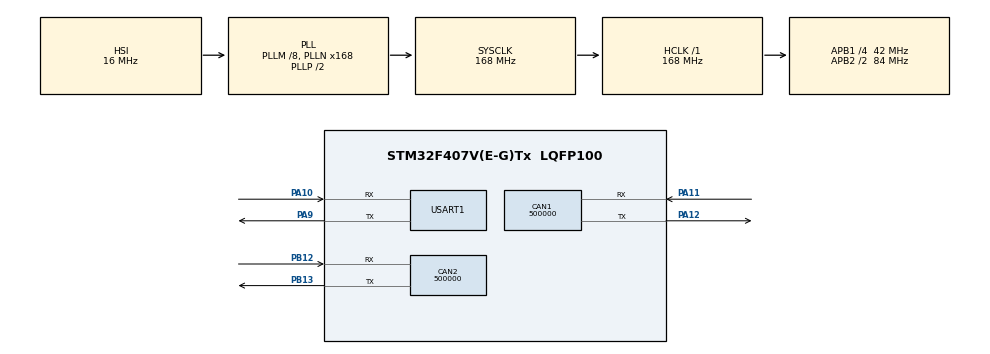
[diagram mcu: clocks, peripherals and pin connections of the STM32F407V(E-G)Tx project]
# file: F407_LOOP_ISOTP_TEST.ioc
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CAN1.CalculateBaudRate=500000
CAN1.CalculateTimeBit=2000
CAN1.CalculateTimeQuantum=333.3333333333333
CAN2.CalculateBaudRate=500000
CAN2.CalculateTimeBit=2000
CAN2.CalculateTimeQuantum=333.3333333333333
Mcu.Family=STM32F4
Mcu.Name=STM32F407V(E-G)Tx
Mcu.Package=LQFP100
NVIC.PriorityGroup=NVIC_PRIORITYGROUP_4
PA10.Mode=Asynchronous
PA10.Signal=USART1_RX
PA11.Mode=CAN_Activate
PA11.Signal=CAN1_RX
PA12.Mode=CAN_Activate
PA12.Signal=CAN1_TX
PA13.Mode=Serial_Wire
PA13.Signal=SYS_JTMS-SWDIO
PA14.Mode=Serial_Wire
PA14.Signal=SYS_JTCK-SWCLK
PA9.Mode=Asynchronous
PA9.Signal=USART1_TX
PB12.Mode=CAN_Activate
PB12.Signal=CAN2_RX
PB13.Mode=CAN_Activate
PB13.Signal=CAN2_TX
PC14-OSC32_IN.Mode=LSE-External-Oscillator
PC14-OSC32_IN.Signal=RCC_OSC32_IN
PC15-OSC32_OUT.Mode=LSE-External-Oscillator
PC15-OSC32_OUT.Signal=RCC_OSC32_OUT
PH0-OSC_IN.Mode=HSE-External-Oscillator
PH0-OSC_IN.Signal=RCC_OSC_IN
PH1-OSC_OUT.Mode=HSE-External-Oscillator
PH1-OSC_OUT.Signal=RCC_OSC_OUT
ProjectManager.HeapSize=0x200
ProjectManager.StackSize=0x400
ProjectManager.TargetToolchain=CMake
RCC.48MHZClocksFreq_Value=84000000
RCC.AHBFreq_Value=168000000
RCC.APB1CLKDivider=RCC_HCLK_DIV4
RCC.APB1Freq_Value=42000000
RCC.APB1TimFreq_Value=84000000
RCC.APB2CLKDivider=RCC_HCLK_DIV2
RCC.APB2Freq_Value=84000000
RCC.APB2TimFreq_Value=168000000
RCC.CortexFreq_Value=168000000
RCC.HCLKFreq_Value=168000000
RCC.HSE_VALUE=25000000
RCC.HSI_VALUE=16000000
RCC.PLLM=8
RCC.PLLN=168
RCC.SYSCLKFreq_VALUE=168000000
RCC.SYSCLKSource=RCC_SYSCLKSOURCE_PLLCLK
RCC.VCOOutputFreq_Value=336000000
USART1.VirtualMode=VM_ASYNC
board=custom

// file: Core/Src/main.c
/* USER CODE BEGIN Header */
/**
  ******************************************************************************
  * @file           : main.c
  * @brief          : Main program body
  ******************************************************************************
  * @attention
  *
  * Copyright (c) 2026 STMicroelectronics.
  * All rights reserved.
  *
  * This software is licensed under terms that can be found in the LICENSE file
  * in the root directory of this software component.
  * If no LICENSE file comes with this software, it is provided AS-IS.
  *
  ******************************************************************************
  */
/* USER CODE END Header */
#include "main.h"
#include "can.h"
#include "usart.h"
#include "gpio.h"

/* USER CODE BEGIN Includes */
#include <stdio.h>
#include <string.h>

#include "app_can.h"
#include "app_log.h"
#include "protocol/app_ack.h"
#include "protocol/app_frame.h"
#include "protocol/tlv.h"
#include "service/dispatcher.h"
#include "service/retry_ack_scheduler.h"
#include "transport/isotp.h"

/* USER CODE END Includes */

/* USER CODE BEGIN PD */
#define APP_CAN1_TX_ID              0x501U
#define APP_CAN1_RX_ID              0x502U
#define APP_CAN2_TX_ID              0x502U
#define APP_CAN2_RX_ID              0x501U
#define APP_DEVICE_ID_CORE          0x01U
#define APP_DEVICE_ID_LAUNCHER      0x21U
#define APP_MODULE_UID              0x1234U
#define APP_CAN1_PERIOD_MS          1000U
#define APP_CAN2_PERIOD_MS          200U
#define APP_ISOTP_STMIN_MS          10U
#define APP_ISOTP_TIMEOUT_MS        100U
#define APP_RETRY_TIMEOUT_MS        100U
#define APP_RETRY_COUNT             2U
#define APP_LAUNCHER_PAYLOAD_LEN    100U
#define APP_ENABLE_FRAME_LOG        0U

/* USER CODE END PD */

/* USER CODE BEGIN PV */
static TransportIsotpContext g_can1_isotp;
static TransportIsotpContext g_can2_isotp;
static ServiceDispatcher g_dispatcher;
static ServiceRetryAckScheduler g_can1_scheduler;
static ServiceRetryAckScheduler g_can2_scheduler;

/* USER CODE END PV */

void SystemClock_Config(void);
/* USER CODE BEGIN PFP */
static void App_Init(void);
static void App_Run(void);
static void App_OnCanRx(AppCanPort port, const AppCanFrame *frame);
static void App_OnIsotpMessage(void *user_arg, const uint8_t *payload, uint16_t length);
static void App_OnIsotpFrame(void *user_arg, AppCanPort port, const char *direction, const AppCanFrame *frame);
static void App_OnCan1TxComplete(void *user_arg, TransportIsotpStatus status);
static void App_OnCan2TxComplete(void *user_arg, TransportIsotpStatus status);
static void App_LogPayload(const char *prefix, const uint8_t *data, uint16_t length);
static void App_PrintCanHealth(void);
static bool App_DispatchDefault(void *user_arg, AppCanPort port, const ProtocolAppFrame *frame);
static bool App_DispatchAck(void *user_arg, AppCanPort port, const ProtocolAppFrame *frame);
static bool App_DispatchLauncherCmd(void *user_arg, AppCanPort port, const ProtocolAppFrame *frame);
static void App_OnSchedulerEvent(ServiceRetryAckScheduler *scheduler,
                                 ServiceRetryAckEvent event,
                                 ServiceRetryAckSlotId slot_id,
                                 const ProtocolAppFrame *frame,
                                 const ServiceRetryAckInfo *ack_info,
                                 void *user_arg);
static bool App_SendViaCan1(void *user_arg, const uint8_t *payload, uint16_t length);
static bool App_SendViaCan2(void *user_arg, const uint8_t *payload, uint16_t length);
static bool App_IsCan1Idle(void *user_arg);
static bool App_IsCan2Idle(void *user_arg);
static bool App_SendAppFrame(AppCanPort port, const ProtocolAppFrame *frame);
static bool App_SendAckFrame(AppCanPort port, const ProtocolAppFrame *request, uint8_t result_code, uint8_t reason_code, bool has_reason);
static void App_EnqueueLauncherMaxFrame(void);
static void App_EnqueueShortFrame(void);
static bool App_BuildLauncherCtrlMaxFrame(ProtocolAppFrame *frame);
static bool App_BuildShortStatusFrame(ProtocolAppFrame *frame);

/* USER CODE END PFP */

/* USER CODE BEGIN 0 */
static void App_LogPayload(const char *prefix, const uint8_t *data, uint16_t length)
{
  char line[192];
  int offset = snprintf(line, sizeof(line), "%s len=%u data=", prefix, (unsigned int)length);

  for (uint16_t i = 0; (i < length) && (offset > 0) && (offset < (int)(sizeof(line) - 4)); ++i)
  {
    offset += snprintf(&line[offset], sizeof(line) - (size_t)offset, "%02X ", data[i]);
  }

  if (offset < 0)
  {
    return;
  }

  if (offset > (int)(sizeof(line) - 3))
  {
    offset = (int)(sizeof(line) - 3);
  }

  line[offset++] = '\r';
  line[offset++] = '\n';
  line[offset] = '\0';
  App_Log_Printf("%s", line);
}

static void App_OnIsotpFrame(void *user_arg, AppCanPort port, const char *direction, const AppCanFrame *frame)
{
#if APP_ENABLE_FRAME_LOG
  const char *name = (const char *)user_arg;

  App_Log_Printf("%s %s CAN%u ID=0x%03lX DLC=%u DATA=%02X %02X %02X %02X %02X %02X %02X %02X\r\n",
                 name,
                 direction,
                 (unsigned int)(port + 1U),
                 (unsigned long)frame->can_id,
                 frame->dlc,
                 frame->data[0], frame->data[1], frame->data[2], frame->data[3],
                 frame->data[4], frame->data[5], frame->data[6], frame->data[7]);
#else
  (void)user_arg;
  (void)port;
  (void)direction;
  (void)frame;
#endif
}

static void App_OnIsotpMessage(void *user_arg, const uint8_t *payload, uint16_t length)
{
  const char *name = (const char *)user_arg;
  char prefix[48];

  snprintf(prefix, sizeof(prefix), "%s ISO-TP complete", name);
  App_LogPayload(prefix, payload, length);
  (void)Service_Dispatcher_DispatchRaw(&g_dispatcher,
                                       (strcmp(name, "CAN1") == 0) ? APP_CAN_PORT_1 : APP_CAN_PORT_2,
                                       payload,
                                       length);
}

static void App_OnCanRx(AppCanPort port, const AppCanFrame *frame)
{
  Transport_Isotp_OnCanFrame(&g_can1_isotp, port, frame);
  Transport_Isotp_OnCanFrame(&g_can2_isotp, port, frame);
}

static void App_OnCan1TxComplete(void *user_arg, TransportIsotpStatus status)
{
  (void)user_arg;
  Service_RetryAckScheduler_OnTransmitComplete(&g_can1_scheduler, status);
}

static void App_OnCan2TxComplete(void *user_arg, TransportIsotpStatus status)
{
  (void)user_arg;
  Service_RetryAckScheduler_OnTransmitComplete(&g_can2_scheduler, status);
}

static void App_PrintCanHealth(void)
{
  AppCanDiag can1 = {0};
  AppCanDiag can2 = {0};

  App_Can_GetDiag(APP_CAN_PORT_1, &can1);
  App_Can_GetDiag(APP_CAN_PORT_2, &can2);

  App_Log_Printf("CAN1 HEALTH TEC=%u REC=%u BOFF=%u EPVF=%u EWGF=%u LEC=%s HAL=0x%08lX ESR=0x%08lX TSR=0x%08lX RF0R=0x%08lX\r\n",
                 can1.tec, can1.rec, can1.bus_off, can1.error_passive, can1.error_warning,
                 App_Can_LastErrorToString(can1.last_error_code),
                 (unsigned long)can1.hal_error, (unsigned long)can1.esr,
                 (unsigned long)can1.tsr, (unsigned long)can1.rf0r);
  App_Log_Printf("CAN1 COUNT TX_OK=%lu TX_FAIL=%lu RX_IRQ=%lu RX_FRAME=%lu\r\n",
                 (unsigned long)can1.tx_ok_count,
                 (unsigned long)can1.tx_fail_count,
                 (unsigned long)can1.rx_irq_count,
                 (unsigned long)can1.rx_frame_count);

  App_Log_Printf("CAN2 HEALTH TEC=%u REC=%u BOFF=%u EPVF=%u EWGF=%u LEC=%s HAL=0x%08lX ESR=0x%08lX TSR=0x%08lX RF0R=0x%08lX\r\n",
                 can2.tec, can2.rec, can2.bus_off, can2.error_passive, can2.error_warning,
                 App_Can_LastErrorToString(can2.last_error_code),
                 (unsigned long)can2.hal_error, (unsigned long)can2.esr,
                 (unsigned long)can2.tsr, (unsigned long)can2.rf0r);
  App_Log_Printf("CAN2 COUNT TX_OK=%lu TX_FAIL=%lu RX_IRQ=%lu RX_FRAME=%lu\r\n",
                 (unsigned long)can2.tx_ok_count,
                 (unsigned long)can2.tx_fail_count,
                 (unsigned long)can2.rx_irq_count,
                 (unsigned long)can2.rx_frame_count);
}

static bool App_DispatchDefault(void *user_arg, AppCanPort port, const ProtocolAppFrame *frame)
{
  (void)user_arg;
  App_Log_Printf("DISPATCH CAN%u FUNC=0x%02X SEQ=0x%02X TYPE=0x%02X LEN=%u DST=0x%02X SRC=0x%02X UID=0x%04X\r\n",
                 (unsigned int)(port + 1U),
                 frame->func_code,
                 frame->seq,
                 frame->data_type,
                 frame->data_len,
                 frame->dst_id,
                 frame->src_id,
                 frame->module_uid);
  return true;
}

static bool App_DispatchAck(void *user_arg, AppCanPort port, const ProtocolAppFrame *frame)
{
  (void)user_arg;
  (void)port;
  Service_RetryAckScheduler_OnReceivedFrame(&g_can1_scheduler, frame);
  Service_RetryAckScheduler_OnReceivedFrame(&g_can2_scheduler, frame);
  return App_DispatchDefault(0, port, frame);
}

static bool App_DispatchLauncherCmd(void *user_arg, AppCanPort port, const ProtocolAppFrame *frame)
{
  (void)user_arg;
  App_Log_Printf("LAUNCHER CMD RX CAN%u SEQ=0x%02X LEN=%u\r\n",
                 (unsigned int)(port + 1U),
                 frame->seq,
                 frame->data_len);

  if (Protocol_AppFrame_RequiresAck(frame))
  {
    return App_SendAckFrame(port, frame, 0x00U, 0U, false);
  }

  return true;
}

static void App_OnSchedulerEvent(ServiceRetryAckScheduler *scheduler,
                                 ServiceRetryAckEvent event,
                                 ServiceRetryAckSlotId slot_id,
                                 const ProtocolAppFrame *frame,
                                 const ServiceRetryAckInfo *ack_info,
                                 void *user_arg)
{
  const char *name = (const char *)user_arg;
  const char *event_name = "UNKNOWN";

  (void)scheduler;

  switch (event)
  {
    case SERVICE_RETRY_ACK_EVENT_ENQUEUED:
      event_name = "ENQUEUED";
      break;
    case SERVICE_RETRY_ACK_EVENT_SENT:
      event_name = "SENT";
      break;
    case SERVICE_RETRY_ACK_EVENT_ACK_OK:
      event_name = "ACK_OK";
      break;
    case SERVICE_RETRY_ACK_EVENT_ACK_REJECTED:
      event_name = "ACK_REJECTED";
      break;
    case SERVICE_RETRY_ACK_EVENT_RETRYING:
      event_name = "RETRYING";
      break;
    case SERVICE_RETRY_ACK_EVENT_TIMEOUT_DROPPED:
      event_name = "TIMEOUT_DROPPED";
      break;
    case SERVICE_RETRY_ACK_EVENT_SEND_FAILED:
      event_name = "SEND_FAILED";
      break;
    case SERVICE_RETRY_ACK_EVENT_CANCELLED:
      event_name = "CANCELLED";
      break;
    default:
      break;
  }

  if (ack_info != 0)
  {
    App_Log_Printf("%s SCHED %s SLOT=%u FUNC=0x%02X SEQ=0x%02X RESULT=0x%02X REASON=%s0x%02X\r\n",
                   name,
                   event_name,
                   slot_id,
                   frame->func_code,
                   frame->seq,
                   ack_info->result_code,
                   ack_info->has_reason ? "" : "N/A:",
                   ack_info->reason_code);
  }
  else
  {
    App_Log_Printf("%s SCHED %s SLOT=%u FUNC=0x%02X SEQ=0x%02X PENDING=%u\r\n",
                   name,
                   event_name,
                   slot_id,
                   frame->func_code,
                   frame->seq,
                   Service_RetryAckScheduler_PendingCount((const ServiceRetryAckScheduler *)scheduler));
  }
}

static bool App_SendViaCan1(void *user_arg, const uint8_t *payload, uint16_t length)
{
  (void)user_arg;
  return (Transport_Isotp_Send(&g_can1_isotp, payload, length) == TRANSPORT_ISOTP_OK);
}

static bool App_SendViaCan2(void *user_arg, const uint8_t *payload, uint16_t length)
{
  (void)user_arg;
  return (Transport_Isotp_Send(&g_can2_isotp, payload, length) == TRANSPORT_ISOTP_OK);
}

static bool App_IsCan1Idle(void *user_arg)
{
  (void)user_arg;
  return Transport_Isotp_IsIdle(&g_can1_isotp);
}

static bool App_IsCan2Idle(void *user_arg)
{
  (void)user_arg;
  return Transport_Isotp_IsIdle(&g_can2_isotp);
}

static bool App_SendAppFrame(AppCanPort port, const ProtocolAppFrame *frame)
{
  uint8_t encoded[PROTOCOL_APP_FRAME_MAX_ENCODED_SIZE];
  uint16_t encoded_len = 0U;

  if ((frame == 0) || !Protocol_AppFrame_Encode(frame, encoded, &encoded_len, sizeof(encoded)))
  {
    return false;
  }

  if (port == APP_CAN_PORT_1)
  {
    return App_SendViaCan1(0, encoded, encoded_len);
  }

  return App_SendViaCan2(0, encoded, encoded_len);
}

static bool App_SendAckFrame(AppCanPort port, const ProtocolAppFrame *request, uint8_t result_code, uint8_t reason_code, bool has_reason)
{
  ProtocolAppFrame ack_frame;

  if ((request == 0) || !Protocol_AppAck_Build(request, result_code, has_reason, reason_code, &ack_frame))
  {
    return false;
  }

  App_Log_Printf("ACK TX CAN%u SEQ=0x%02X RESULT=0x%02X\r\n",
                 (unsigned int)(port + 1U),
                 ack_frame.seq,
                 result_code);
  return App_SendAppFrame(port, &ack_frame);
}

static bool App_BuildLauncherCtrlMaxFrame(ProtocolAppFrame *frame)
{
  uint8_t tlv_buffer[PROTOCOL_APP_FRAME_MAX_DATA_LENGTH];
  ProtocolTlvWriter writer;
  uint8_t payload[APP_LAUNCHER_PAYLOAD_LEN];

  for (uint16_t i = 0; i < sizeof(payload); ++i)
  {
    payload[i] = (uint8_t)(i & 0xFFU);
  }

  Protocol_AppFrame_Init(frame,
                         APP_DEVICE_ID_LAUNCHER,
                         APP_DEVICE_ID_CORE,
                         APP_MODULE_UID,
                         PROTOCOL_MSG_LAUNCHER_CTRL_CMD,
                         0U,
                         PROTOCOL_TYPE_TLV_STREAM);

  Protocol_TlvWriter_Init(&writer, tlv_buffer, sizeof(tlv_buffer));
  if (!Protocol_TlvWriter_AppendU16(&writer, PROTOCOL_TLV_CMD_INDEX, 0x0001U))
  {
    return false;
  }

  if (!Protocol_TlvWriter_AppendBytes(&writer, PROTOCOL_TLV_PAYLOAD, payload, (uint8_t)sizeof(payload)))
  {
    return false;
  }

  return Protocol_AppFrame_SetData(frame, tlv_buffer, (uint8_t)Protocol_TlvWriter_GetLength(&writer));
}

static bool App_BuildShortStatusFrame(ProtocolAppFrame *frame)
{
  uint8_t tlv_buffer[16];
  ProtocolTlvWriter writer;

  Protocol_AppFrame_Init(frame,
                         APP_DEVICE_ID_CORE,
                         APP_DEVICE_ID_LAUNCHER,
                         APP_MODULE_UID,
                         PROTOCOL_MSG_STATUS_REPORT,
                         0U,
                         PROTOCOL_TYPE_TLV_STREAM);

  Protocol_TlvWriter_Init(&writer, tlv_buffer, sizeof(tlv_buffer));
  if (!Protocol_TlvWriter_AppendBytes(&writer, PROTOCOL_TLV_STATE, (const uint8_t *)"ok", 2U))
  {
    return false;
  }

  return Protocol_AppFrame_SetData(frame, tlv_buffer, (uint8_t)Protocol_TlvWriter_GetLength(&writer));
}

static void App_EnqueueLauncherMaxFrame(void)
{
  ProtocolAppFrame frame;

  if (App_BuildLauncherCtrlMaxFrame(&frame))
  {
    (void)Service_RetryAckScheduler_Enqueue(&g_can1_scheduler,
                                            &frame,
                                            PROTOCOL_PRIORITY_HIGHEST,
                                            true,
                                            APP_RETRY_COUNT,
                                            APP_RETRY_TIMEOUT_MS,
                                            0);
  }
}

static void App_EnqueueShortFrame(void)
{
  ProtocolAppFrame frame;

  if (App_BuildShortStatusFrame(&frame))
  {
    (void)Service_RetryAckScheduler_Enqueue(&g_can2_scheduler,
                                            &frame,
                                            PROTOCOL_PRIORITY_MEDIUM,
                                            false,
                                            0U,
                                            APP_RETRY_TIMEOUT_MS,
                                            0);
  }
}

static void App_Init(void)
{
  const TransportIsotpConfig can1_cfg = {
      .port = APP_CAN_PORT_1,
      .tx_id = APP_CAN1_TX_ID,
      .rx_id = APP_CAN1_RX_ID,
      .block_size = 0U,
      .st_min_ms = APP_ISOTP_STMIN_MS,
      .tx_timeout_ms = APP_ISOTP_TIMEOUT_MS,
      .tx_require_flow_control = true,
      .get_ms = HAL_GetTick,
      .on_message = App_OnIsotpMessage,
      .on_frame = App_OnIsotpFrame,
      .on_tx_complete = App_OnCan1TxComplete,
      .user_arg = "CAN1",
  };

  const TransportIsotpConfig can2_cfg = {
      .port = APP_CAN_PORT_2,
      .tx_id = APP_CAN2_TX_ID,
      .rx_id = APP_CAN2_RX_ID,
      .block_size = 0U,
      .st_min_ms = APP_ISOTP_STMIN_MS,
      .tx_timeout_ms = APP_ISOTP_TIMEOUT_MS,
      .tx_require_flow_control = true,
      .get_ms = HAL_GetTick,
      .on_message = App_OnIsotpMessage,
      .on_frame = App_OnIsotpFrame,
      .on_tx_complete = App_OnCan2TxComplete,
      .user_arg = "CAN2",
  };

  App_Log_Init();
  App_Can_SetRxCallback(App_OnCanRx);

  if (App_Can_Init() != APP_CAN_STATUS_OK)
  {
    Error_Handler();
  }

  Transport_Isotp_Init(&g_can1_isotp, &can1_cfg);
  Transport_Isotp_Init(&g_can2_isotp, &can2_cfg);
  Service_Dispatcher_Init(&g_dispatcher);
  Service_Dispatcher_Register(&g_dispatcher, PROTOCOL_MSG_ACK, App_DispatchAck, 0);
  Service_Dispatcher_Register(&g_dispatcher, PROTOCOL_MSG_LAUNCHER_CTRL_CMD, App_DispatchLauncherCmd, 0);
  Service_Dispatcher_SetDefault(&g_dispatcher, App_DispatchDefault, 0);

  Service_RetryAckScheduler_Init(&g_can1_scheduler, App_SendViaCan1, App_IsCan1Idle, HAL_GetTick, 0);
  Service_RetryAckScheduler_Init(&g_can2_scheduler, App_SendViaCan2, App_IsCan2Idle, HAL_GetTick, 0);
  Service_RetryAckScheduler_SetEventCallback(&g_can1_scheduler, App_OnSchedulerEvent, "CAN1");
  Service_RetryAckScheduler_SetEventCallback(&g_can2_scheduler, App_OnSchedulerEvent, "CAN2");

  App_Log_Printf("Dual CAN ISO-TP loop test start, CAN1=500K, CAN2=500K, max_app_frame=%u, max_isotp=%u\r\n",
                 PROTOCOL_APP_FRAME_MAX_ENCODED_SIZE,
                 TRANSPORT_ISOTP_MAX_MESSAGE_SIZE);
}

static void App_Run(void)
{
  static uint32_t last_can1_tick = 0U;
  static uint32_t last_can2_tick = 0U;
  static uint32_t last_diag_tick = 0U;
  uint32_t now = HAL_GetTick();

  Transport_Isotp_Poll(&g_can1_isotp);
  Transport_Isotp_Poll(&g_can2_isotp);
  Service_RetryAckScheduler_Poll(&g_can1_scheduler);
  Service_RetryAckScheduler_Poll(&g_can2_scheduler);

  if ((now - last_can1_tick) >= APP_CAN1_PERIOD_MS)
  {
    last_can1_tick += APP_CAN1_PERIOD_MS;
    App_EnqueueLauncherMaxFrame();
  }

  if ((now - last_can2_tick) >= APP_CAN2_PERIOD_MS)
  {
    last_can2_tick += APP_CAN2_PERIOD_MS;
    App_EnqueueShortFrame();
  }

  if ((now - last_diag_tick) >= 1000U)
  {
    last_diag_tick += 1000U;
    App_PrintCanHealth();
  }
}

/* USER CODE END 0 */

int main(void)
{

  /* MCU Configuration--------------------------------------------------------*/

  /* Reset of all peripherals, Initializes the Flash interface and the Systick. */
  HAL_Init();

  /* Configure the system clock */
  SystemClock_Config();

  /* Initialize all configured peripherals */
  MX_GPIO_Init();
  MX_CAN1_Init();
  MX_CAN2_Init();
  MX_USART1_UART_Init();
  /* USER CODE BEGIN 2 */
  App_Init();

  /* USER CODE END 2 */

  /* Infinite loop */
  while (1)
  {

    /* USER CODE BEGIN 3 */
    App_Run();
  }
  /* USER CODE END 3 */
}

void SystemClock_Config(void)
{
  RCC_OscInitTypeDef RCC_OscInitStruct = {0};
  RCC_ClkInitTypeDef RCC_ClkInitStruct = {0};

  /** Configure the main internal regulator output voltage
  */
  __HAL_RCC_PWR_CLK_ENABLE();
  __HAL_PWR_VOLTAGESCALING_CONFIG(PWR_REGULATOR_VOLTAGE_SCALE1);

  /** Initializes the RCC Oscillators according to the specified parameters
  * in the RCC_OscInitTypeDef structure.
  */
  RCC_OscInitStruct.OscillatorType = RCC_OSCILLATORTYPE_HSI;
  RCC_OscInitStruct.HSIState = RCC_HSI_ON;
  RCC_OscInitStruct.HSICalibrationValue = RCC_HSICALIBRATION_DEFAULT;
  RCC_OscInitStruct.PLL.PLLState = RCC_PLL_ON;
  RCC_OscInitStruct.PLL.PLLSource = RCC_PLLSOURCE_HSI;
  RCC_OscInitStruct.PLL.PLLM = 8;
  RCC_OscInitStruct.PLL.PLLN = 168;
  RCC_OscInitStruct.PLL.PLLP = RCC_PLLP_DIV2;
  RCC_OscInitStruct.PLL.PLLQ = 4;
  if (HAL_RCC_OscConfig(&RCC_OscInitStruct) != HAL_OK)
  {
    Error_Handler();
  }

  /** Initializes the CPU, AHB and APB buses clocks
  */
  RCC_ClkInitStruct.ClockType = RCC_CLOCKTYPE_HCLK|RCC_CLOCKTYPE_SYSCLK
                              |RCC_CLOCKTYPE_PCLK1|RCC_CLOCKTYPE_PCLK2;
  RCC_ClkInitStruct.SYSCLKSource = RCC_SYSCLKSOURCE_PLLCLK;
  RCC_ClkInitStruct.AHBCLKDivider = RCC_SYSCLK_DIV1;
  RCC_ClkInitStruct.APB1CLKDivider = RCC_HCLK_DIV4;
  RCC_ClkInitStruct.APB2CLKDivider = RCC_HCLK_DIV2;

  if (HAL_RCC_ClockConfig(&RCC_ClkInitStruct, FLASH_LATENCY_5) != HAL_OK)
  {
    Error_Handler();
  }
}

void Error_Handler(void)
{
  __disable_irq();
  while (1)
  {
  }
}
